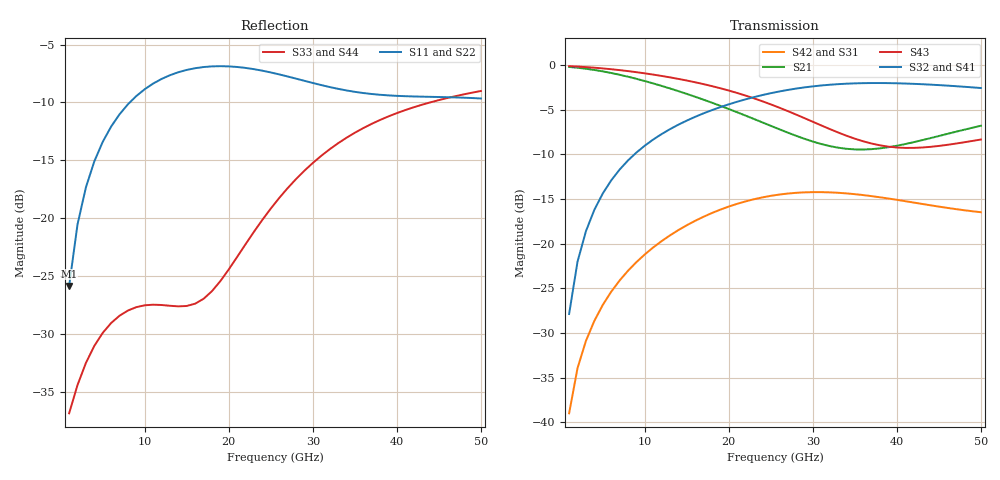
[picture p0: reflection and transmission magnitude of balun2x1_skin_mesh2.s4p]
! Created with skrf 2.1.0 (http://scikit-rf.org).
# GHz S DB R 50.0
! Port[1] = P1
! Port[2] = P2
! Port[3] = P3
! Port[4] = P4
!freq dBS11 angS11 dBS12 angS12 dBS13 angS13
! dBS14 angS14
! dBS21 angS21 dBS22 angS22 dBS23 angS23
! dBS24 angS24
! dBS31 angS31 dBS32 angS32 dBS33 angS33
! dBS34 angS34
! dBS41 angS41 dBS42 angS42 dBS43 angS43
! dBS44 angS44
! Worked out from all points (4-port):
!   50 points, 1 GHz to 50 GHz, reference 50 ohm
!   strongest paths, dB at 1 GHz, 13 GHz, 26 GHz, 38 GHz, 50 GHz:
!     S32: -27.9, -7.2, -3.0, -2.0, -2.6
!     S41: -27.9, -7.2, -3.0, -2.0, -2.6
!     S43: -0.1, -1.4, -4.8, -9.0, -8.3
!     S21: -0.2, -2.6, -7.2, -9.3, -6.8
!     S42: -39.0, -19.1, -14.5, -14.8, -16.5
!     S31: -39.0, -19.1, -14.6, -15.0, -16.6
!   lowest |S11| = -25.8 dB at 1 GHz (marker M1), VSWR 1.11, Z = 52.2 + j4.73 ohm
!   |S11| at or under -10 dB: start of sweep to 8.216 GHz
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1  -25.84 62.3  -0.21 -5.3  -39.00 -109.1  -27.87 84.6
   -0.21 -5.3  -25.84 62.3  -27.87 84.6  -39.00 -109.1
   -39.00 -109.1  -27.87 84.6  -36.84 24.2  -0.12 -2.6
   -27.87 84.6  -39.00 -109.1  -0.12 -2.6  -36.84 24.2
4  -15.08 60.7  -0.55 -19.9  -28.66 -135.6  -16.21 73.4
   -0.55 -19.9  -15.09 60.6  -16.21 73.4  -28.65 -135.8
   -28.66 -135.6  -16.21 73.4  -31.02 30.3  -0.30 -9.9
   -16.21 73.4  -28.65 -135.8  -0.30 -9.9  -31.01 30.2
9  -9.44 39.7  -1.54 -42.8  -22.10 -177.0  -9.80 56.0
   -1.54 -42.8  -9.45 39.3  -9.80 56.0  -22.07 -177.5
   -22.10 -177.0  -9.80 56.0  -27.67 2.4  -0.80 -21.1
   -9.80 56.0  -22.07 -177.5  -0.80 -21.1  -27.67 2.0
17  -6.94 9.0  -3.88 -78.1  -17.05 124.7  -5.41 31.7
    -3.88 -78.1  -6.97 8.2  -5.41 31.6  -16.98 123.8
    -17.05 124.7  -5.41 31.6  -26.95 -87.2  -2.14 -37.2
    -5.41 31.7  -16.98 123.8  -2.14 -37.2  -26.84 -88.3
28  -7.94 -18.8  -7.92 -138.5  -14.44 60.1  -2.65 -0.0
    -7.92 -138.5  -8.07 -20.2  -2.64 -0.2  -14.31 58.6
    -14.44 60.1  -2.64 -0.2  -16.62 167.2  -5.54 -52.8
    -2.65 -0.0  -14.31 58.6  -5.54 -52.8  -16.44 166.9
37  -9.27 -26.3  -9.42 155.3  -14.87 21.3  -2.04 -24.9
    -9.42 155.3  -9.55 -27.6  -2.01 -25.2  -14.68 18.9
    -14.87 21.3  -2.01 -25.2  -11.85 125.1  -8.79 -46.7
    -2.04 -24.9  -14.68 18.9  -8.79 -46.7  -11.68 124.8
50  -9.65 -37.8  -6.80 87.2  -16.61 -8.1  -2.61 -54.2
    -6.80 87.2  -9.99 -38.3  -2.57 -54.8  -16.48 -12.3
    -16.61 -8.1  -2.57 -54.8  -9.01 88.0  -8.34 -29.4
    -2.61 -54.2  -16.48 -12.3  -8.34 -29.4  -8.85 87.4
